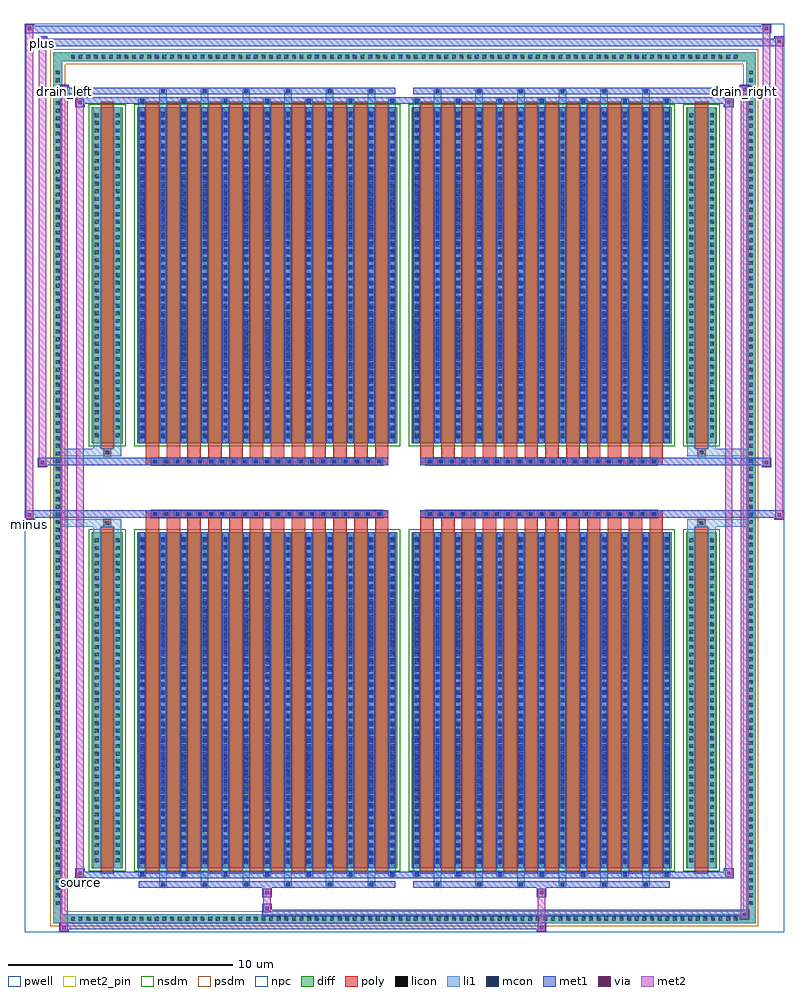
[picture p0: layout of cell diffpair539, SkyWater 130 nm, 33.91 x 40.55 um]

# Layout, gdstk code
import gdstk
lib = gdstk.Library(unit=1e-6, precision=5e-09)
def R(c, l, rs):  # rectangles x0, y0, x1, y1
    for r in rs: c.add(gdstk.rectangle(r[:2], r[2:], *l))
def A(c, l, x, y, w, h, nx, ny, dx, dy):  # array of equal rectangles
    R(c, l, [(x+i*dx, y+j*dy, x+i*dx+w, y+j*dy+h) for i in range(nx) for j in range(ny)])
def P(c, l, *ps):  # polygons
    for p in ps: c.add(gdstk.Polygon(p, *l))
pwell = (64, 44)
diff = (65, 20)
poly = (66, 20)
licon = (66, 44)
li1 = (67, 20)
mcon = (67, 44)
met1 = (68, 20)
via = (68, 44)
met2_pin = (69, 16)
met2 = (69, 20)
nsdm = (93, 44)
psdm = (94, 20)
npc = (95, 20)

diffpair539 = lib.new_cell('diffpair539')
R(diffpair539, pwell, [(-16.94,-19.84,16.94,20.71), (-14.26,-18.03,-0.01,-0.805), (0.01,-18.03,14.26,-0.805), (-14.26,0.805,-0.01,18.03), (0.01,0.805,14.26,18.03)])
A(diffpair539, diff, -14.995, -19.44, 0.41, 0.41, 88, 2, 0.34, 38.47)
A(diffpair539, diff, -15.67, -18.735, 0.41, 0.41, 1, 110, 0, 0.34)
A(diffpair539, diff, 15.26, -18.735, 0.41, 0.41, 1, 110, 0, 0.34)
R(diffpair539, diff, [(-14.995,-19.44,14.995,-19.03), (-15.67,-18.735,-15.26,18.735), (15.26,-18.735,15.67,18.735), (-13.95,-16.985,-12.57,-1.985), (-11.93,-16.985,-0.32,-1.985), (0.32,-16.985,11.93,-1.985), (12.57,-16.985,13.95,-1.985), (-13.95,1.985,-12.57,16.985), (-11.93,1.985,-0.32,16.985), (0.32,1.985,11.93,16.985), (12.57,1.985,13.95,16.985), (-14.995,19.03,14.995,19.44)])
P(diffpair539, diff, [(15.67,19.44),(-15.67,19.44),(-15.67,-19.03),(-15.26,-19.03),(-15.26,19.03),(15.26,19.03),(15.26,-19.03),(-15.26,-19.03),(-15.67,-19.03),(-15.67,-19.44),(15.67,-19.44)])
A(diffpair539, poly, -11.54, -17.235, 0.6, 15.5, 12, 2, 0.93, 18.97)
A(diffpair539, poly, 0.71, -17.235, 0.6, 15.5, 12, 2, 0.93, 18.97)
A(diffpair539, poly, -11.54, -1.735, 0.6, 0.4, 12, 2, 0.93, 3.07)
A(diffpair539, poly, 0.71, -1.735, 0.6, 0.4, 12, 2, 0.93, 3.07)
A(diffpair539, poly, -11.29, -1.335, 0.33, 0.33, 21, 2, 0.5, 2.34)
A(diffpair539, poly, 0.96, -1.335, 0.33, 0.33, 21, 2, 0.5, 2.34)
R(diffpair539, poly, [(-13.56,-17.235,-12.96,-1.735), (12.96,-17.235,13.56,-1.735), (-13.425,-1.735,-13.095,-1.405), (-13.425,-1.735,-13.095,-1.405), (13.095,-1.735,13.425,-1.405), (13.095,-1.735,13.425,-1.405), (-11.54,-1.335,-0.71,-1.005), (0.71,-1.335,11.54,-1.005), (-11.54,1.005,-0.71,1.335), (0.71,1.005,11.54,1.335), (-13.425,1.405,-13.095,1.735), (-13.425,1.405,-13.095,1.735), (13.095,1.405,13.425,1.735), (13.095,1.405,13.425,1.735), (-13.56,1.735,-12.96,17.235), (12.96,1.735,13.56,17.235)])
A(diffpair539, licon, -14.875, -19.32, 0.17, 0.17, 88, 2, 0.34, 38.47)
A(diffpair539, licon, -15.55, -18.615, 0.17, 0.17, 1, 110, 0, 0.34)
A(diffpair539, licon, 15.38, -18.615, 0.17, 0.17, 1, 110, 0, 0.34)
A(diffpair539, licon, -13.81, -16.71, 0.17, 0.17, 1, 43, 0, 0.34)
A(diffpair539, licon, -12.88, -16.71, 0.17, 0.17, 1, 43, 0, 0.34)
A(diffpair539, licon, -11.79, -16.71, 0.17, 0.17, 13, 43, 0.93, 0.34)
A(diffpair539, licon, 0.46, -16.71, 0.17, 0.17, 13, 43, 0.93, 0.34)
A(diffpair539, licon, 12.71, -16.71, 0.17, 0.17, 1, 43, 0, 0.34)
A(diffpair539, licon, 13.64, -16.71, 0.17, 0.17, 1, 43, 0, 0.34)
A(diffpair539, licon, -11.21, -1.255, 0.17, 0.17, 21, 2, 0.5, 2.34)
A(diffpair539, licon, 1.04, -1.255, 0.17, 0.17, 21, 2, 0.5, 2.34)
A(diffpair539, licon, -13.81, 2.26, 0.17, 0.17, 1, 43, 0, 0.34)
A(diffpair539, licon, -12.88, 2.26, 0.17, 0.17, 1, 43, 0, 0.34)
A(diffpair539, licon, -11.79, 2.26, 0.17, 0.17, 13, 43, 0.93, 0.34)
A(diffpair539, licon, 0.46, 2.26, 0.17, 0.17, 13, 43, 0.93, 0.34)
A(diffpair539, licon, 12.71, 2.26, 0.17, 0.17, 1, 43, 0, 0.34)
A(diffpair539, licon, 13.64, 2.26, 0.17, 0.17, 1, 43, 0, 0.34)
R(diffpair539, licon, [(-13.345,-1.655,-13.175,-1.485), (13.175,-1.655,13.345,-1.485), (-13.345,1.485,-13.175,1.655), (13.175,1.485,13.345,1.655)])
A(diffpair539, li1, -14.955, -19.4, 0.33, 0.33, 88, 2, 0.34, 38.47)
A(diffpair539, li1, -15.63, -18.695, 0.33, 0.33, 1, 110, 0, 0.34)
A(diffpair539, li1, 15.3, -18.695, 0.33, 0.33, 1, 110, 0, 0.34)
A(diffpair539, li1, -10.94, -17.79, 0.33, 0.805, 6, 2, 1.86, 34.775)
A(diffpair539, li1, -10.86, -17.79, 0.17, 0.17, 6, 2, 1.86, 35.41)
A(diffpair539, li1, 1.31, -17.79, 0.33, 0.805, 6, 2, 1.86, 34.775)
A(diffpair539, li1, 1.39, -17.79, 0.17, 0.17, 6, 2, 1.86, 35.41)
A(diffpair539, li1, -11.87, -17.36, 0.33, 0.375, 7, 2, 1.86, 34.345)
A(diffpair539, li1, -11.79, -17.36, 0.17, 0.17, 7, 2, 1.86, 34.55)
A(diffpair539, li1, 0.38, -17.36, 0.33, 0.375, 7, 2, 1.86, 34.345)
A(diffpair539, li1, 0.46, -17.36, 0.17, 0.17, 7, 2, 1.86, 34.55)
A(diffpair539, li1, -11.87, -16.985, 0.33, 15, 13, 2, 0.93, 18.97)
A(diffpair539, li1, 0.38, -16.985, 0.33, 15, 13, 2, 0.93, 18.97)
A(diffpair539, li1, -13.89, -16.79, 0.33, 0.33, 1, 43, 0, 0.34)
A(diffpair539, li1, -12.96, -16.79, 0.33, 0.33, 1, 43, 0, 0.34)
A(diffpair539, li1, -11.87, -16.79, 0.33, 0.33, 13, 43, 0.93, 0.34)
A(diffpair539, li1, 0.38, -16.79, 0.33, 0.33, 13, 43, 0.93, 0.34)
A(diffpair539, li1, 12.63, -16.79, 0.33, 0.33, 1, 43, 0, 0.34)
A(diffpair539, li1, 13.56, -16.79, 0.33, 0.33, 1, 43, 0, 0.34)
A(diffpair539, li1, -11.79, -16.77, 0.17, 0.17, 13, 41, 0.93, 0.36)
A(diffpair539, li1, -11.79, -16.77, 0.17, 14.57, 13, 2, 0.93, 18.97)
A(diffpair539, li1, 0.46, -16.77, 0.17, 0.17, 13, 41, 0.93, 0.36)
A(diffpair539, li1, 0.46, -16.77, 0.17, 14.57, 13, 2, 0.93, 18.97)
A(diffpair539, li1, -11.29, -1.335, 0.33, 0.33, 21, 2, 0.5, 2.34)
A(diffpair539, li1, 0.96, -1.335, 0.33, 0.33, 21, 2, 0.5, 2.34)
A(diffpair539, li1, -13.89, 2.18, 0.33, 0.33, 1, 43, 0, 0.34)
A(diffpair539, li1, -12.96, 2.18, 0.33, 0.33, 1, 43, 0, 0.34)
A(diffpair539, li1, -11.87, 2.18, 0.33, 0.33, 13, 43, 0.93, 0.34)
A(diffpair539, li1, 0.38, 2.18, 0.33, 0.33, 13, 43, 0.93, 0.34)
A(diffpair539, li1, 12.63, 2.18, 0.33, 0.33, 1, 43, 0, 0.34)
A(diffpair539, li1, 13.56, 2.18, 0.33, 0.33, 1, 43, 0, 0.34)
A(diffpair539, li1, -11.79, 2.2, 0.17, 0.17, 13, 41, 0.93, 0.36)
A(diffpair539, li1, 0.46, 2.2, 0.17, 0.17, 13, 41, 0.93, 0.36)
R(diffpair539, li1, [(-15.67,-19.44,-15.26,-19.03), (-15.67,-19.44,-15.26,-19.03), (-15.26,-19.44,15.26,-19.03), (15.26,-19.44,15.67,-19.03), (15.26,-19.44,15.67,-19.03), (-15.67,-19.03,-15.26,19.03), (15.26,-19.03,15.67,19.03), (-13.89,-16.985,-13.56,-1.985), (-12.96,-16.985,-12.63,-1.985), (12.63,-16.985,12.96,-1.985), (13.56,-16.985,13.89,-1.985), (-13.89,-1.985,-13.56,-1.405), (-12.96,-1.985,-12.63,-1.405), (12.63,-1.985,12.96,-1.405), (13.56,-1.985,13.89,-1.405), (-15.67,-1.735,-13.425,-1.405), (-13.89,-1.735,-13.425,-1.405), (-13.425,-1.735,-13.095,-1.405), (-13.095,-1.735,-12.63,-1.405), (12.63,-1.735,13.095,-1.405), (13.095,-1.735,13.425,-1.405), (13.095,-1.735,15.67,-1.405), (13.425,-1.735,13.89,-1.405), (-15.67,1.405,-13.425,1.735), (-13.89,1.405,-13.425,1.735), (-13.89,1.405,-13.56,1.985), (-13.425,1.405,-13.095,1.735), (-13.095,1.405,-12.63,1.735), (-12.96,1.405,-12.63,1.985), (12.63,1.405,13.095,1.735), (12.63,1.405,12.96,1.985), (13.095,1.405,13.425,1.735), (13.095,1.405,15.67,1.735), (13.425,1.405,13.89,1.735), (13.56,1.405,13.89,1.985), (-13.89,1.985,-13.56,16.985), (-12.96,1.985,-12.63,16.985), (12.63,1.985,12.96,16.985), (13.56,1.985,13.89,16.985), (-15.67,19.03,-15.26,19.44), (-15.67,19.03,-15.26,19.44), (-15.26,19.03,15.26,19.44), (15.26,19.03,15.67,19.44), (15.26,19.03,15.67,19.44)])
A(diffpair539, mcon, -10.86, -17.79, 0.17, 0.17, 6, 2, 1.86, 35.41)
A(diffpair539, mcon, 1.39, -17.79, 0.17, 0.17, 6, 2, 1.86, 35.41)
A(diffpair539, mcon, -11.79, -17.36, 0.17, 0.17, 7, 2, 1.86, 34.55)
A(diffpair539, mcon, 0.46, -17.36, 0.17, 0.17, 7, 2, 1.86, 34.55)
A(diffpair539, mcon, -11.79, -16.77, 0.17, 0.17, 13, 41, 0.93, 0.36)
A(diffpair539, mcon, 0.46, -16.77, 0.17, 0.17, 13, 41, 0.93, 0.36)
A(diffpair539, mcon, -11.21, -1.255, 0.17, 0.17, 21, 2, 0.5, 2.34)
A(diffpair539, mcon, 1.04, -1.255, 0.17, 0.17, 21, 2, 0.5, 2.34)
A(diffpair539, mcon, -11.79, 2.2, 0.17, 0.17, 13, 41, 0.93, 0.36)
A(diffpair539, mcon, 0.46, 2.2, 0.17, 0.17, 13, 41, 0.93, 0.36)
A(diffpair539, met1, -10.92, -17.85, 0.29, 0.29, 6, 2, 1.86, 35.41)
A(diffpair539, met1, 1.33, -17.85, 0.29, 0.29, 6, 2, 1.86, 35.41)
A(diffpair539, met1, -11.85, -17.42, 0.29, 0.29, 7, 2, 1.86, 34.55)
A(diffpair539, met1, 0.4, -17.42, 0.29, 0.29, 7, 2, 1.86, 34.55)
A(diffpair539, met1, -11.85, -16.985, 0.29, 15, 13, 2, 0.93, 18.97)
A(diffpair539, met1, 0.4, -16.985, 0.29, 15, 13, 2, 0.93, 18.97)
A(diffpair539, met1, -11.85, -16.83, 0.29, 0.29, 13, 41, 0.93, 0.36)
A(diffpair539, met1, 0.4, -16.83, 0.29, 0.29, 13, 41, 0.93, 0.36)
A(diffpair539, met1, -11.27, -1.315, 0.29, 0.29, 21, 2, 0.5, 2.34)
A(diffpair539, met1, 0.98, -1.315, 0.29, 0.29, 21, 2, 0.5, 2.34)
A(diffpair539, met1, -11.85, 2.14, 0.29, 0.29, 13, 41, 0.93, 0.36)
A(diffpair539, met1, 0.4, 2.14, 0.29, 0.29, 13, 41, 0.93, 0.36)
R(diffpair539, met1, [(-15.4,-19.84,-14.97,-19.41), (5.91,-19.84,6.34,-19.41), (-15.4,-19.7,6.34,-19.41), (14.97,-19.27,15.4,-18.84), (-6.34,-19.13,15.4,-18.84), (-6.34,-18.99,-5.91,-18.56), (-6.34,-18.28,-5.91,-17.85), (5.91,-18.28,6.34,-17.85), (-11.85,-17.85,-0.4,-17.56), (0.4,-17.85,11.85,-17.56), (-14.69,-17.42,-14.26,-16.99), (-14.69,-17.42,-11.85,-17.13), (-11.85,-17.42,-0.4,-17.13), (-0.4,-17.42,0.4,-17.13), (0.4,-17.42,11.85,-17.13), (11.85,-17.42,14.69,-17.13), (14.26,-17.42,14.69,-16.99), (-16.94,-1.435,-16.51,-1.005), (16.51,-1.435,16.94,-1.005), (-16.94,-1.335,-0.71,-1.005), (-11.54,-1.335,-0.71,-1.005), (0.71,-1.335,11.54,-1.005), (0.71,-1.335,16.94,-1.005), (-16.37,0.905,-15.94,1.335), (15.94,0.905,16.37,1.335), (-16.37,1.005,-11.54,1.335), (-11.54,1.005,-0.71,1.335), (0.71,1.005,11.54,1.335), (11.54,1.005,16.37,1.335), (-14.69,16.99,-14.26,17.42), (14.26,16.99,14.69,17.42), (-14.69,17.13,-11.85,17.42), (-11.85,17.13,-0.4,17.42), (-0.4,17.13,0.4,17.42), (0.4,17.13,11.85,17.42), (11.85,17.13,14.69,17.42), (-15.4,17.56,-14.97,17.99), (-15.4,17.56,-11.85,17.85), (-11.85,17.56,-0.4,17.85), (0.4,17.56,11.85,17.85), (11.85,17.56,15.4,17.85), (14.97,17.56,15.4,17.99), (-16.37,19.71,-15.94,20.14), (-16.37,19.71,-14.26,20.04), (-14.26,19.71,14.26,20.04), (14.26,19.71,16.94,20.04), (16.51,19.71,16.94,20.14), (-16.94,20.28,-16.51,20.71), (-16.94,20.28,-14.26,20.61), (-14.26,20.28,14.26,20.61), (14.26,20.28,16.37,20.61), (15.94,20.28,16.37,20.71)])
R(diffpair539, via, [(-15.26,-19.7,-15.11,-19.55), (6.05,-19.7,6.2,-19.55), (15.11,-19.13,15.26,-18.98), (-6.2,-18.85,-6.05,-18.7), (-6.2,-18.14,-6.05,-17.99), (6.05,-18.14,6.2,-17.99), (-14.55,-17.28,-14.4,-17.13), (14.4,-17.28,14.55,-17.13), (-16.8,-1.295,-16.65,-1.145), (16.65,-1.295,16.8,-1.145), (-16.23,1.045,-16.08,1.195), (16.08,1.045,16.23,1.195), (-14.55,17.13,-14.4,17.28), (14.4,17.13,14.55,17.28), (-15.26,17.7,-15.11,17.85), (15.11,17.7,15.26,17.85), (-16.23,19.85,-16.08,20), (16.65,19.85,16.8,20), (-16.8,20.42,-16.65,20.57), (16.08,20.42,16.23,20.57)])
R(diffpair539, met2_pin, [(-14.725,-17.87,-14.225,-17.37), (-16.975,-1.885,-16.475,-1.385), (-15.435,17.44,-14.935,17.94), (14.935,17.44,15.435,17.94), (-16.405,19.59,-15.905,20.09)])
R(diffpair539, met2, [(-15.35,-19.79,-15.02,-19.46), (-15.35,-19.79,-15.02,17.94), (5.96,-19.79,6.29,-19.46), (5.96,-19.46,6.29,-18.23), (15.02,-19.22,15.35,-18.89), (15.02,-19.22,15.35,17.94), (-6.29,-18.94,-5.96,-18.61), (-6.29,-18.61,-5.96,-18.23), (-6.29,-18.23,-5.96,-17.9), (5.96,-18.23,6.29,-17.9), (-14.64,-17.37,-14.31,-17.04), (-14.64,-17.37,-14.31,17.37), (14.31,-17.37,14.64,-17.04), (14.31,-17.37,14.64,17.37), (-16.89,-1.385,-16.56,-1.055), (-16.89,-1.385,-16.56,20.66), (16.56,-1.385,16.89,-1.055), (16.56,-1.385,16.89,20.09), (-16.32,0.955,-15.99,1.285), (-16.32,0.955,-15.99,20.09), (15.99,0.955,16.32,1.285), (15.99,0.955,16.32,20.66), (-14.64,17.04,-14.31,17.37), (14.31,17.04,14.64,17.37), (-15.35,17.61,-15.02,17.94), (15.02,17.61,15.35,17.94), (-16.32,19.76,-15.99,20.09), (16.56,19.76,16.89,20.09), (-16.89,20.33,-16.56,20.66), (15.99,20.33,16.32,20.66)])
P(diffpair539, met2, [(16.89,-1.385),(16.89,-1.385),(16.89,-1.055),(16.89,-1.055)],
  [(16.89,19.76),(16.89,19.76),(16.89,20.09),(16.89,20.09)],
  [(-16.56,-1.385),(-16.56,-1.385),(-16.56,-1.055),(-16.56,-1.055)],
  [(-16.56,20.33),(-16.56,20.33),(-16.56,20.66),(-16.56,20.66)],
  [(16.32,0.955),(16.32,0.955),(16.32,1.285),(16.32,1.285)],
  [(16.32,20.33),(16.32,20.33),(16.32,20.66),(16.32,20.66)],
  [(-15.99,0.955),(-15.99,0.955),(-15.99,1.285),(-15.99,1.285)],
  [(-15.99,19.76),(-15.99,19.76),(-15.99,20.09),(-15.99,20.09)],
  [(-15.02,-19.79),(-15.02,-19.79),(-15.02,-19.46),(-15.02,-19.46)],
  [(-15.02,17.61),(-15.02,17.61),(-15.02,17.94),(-15.02,17.94)],
  [(15.35,-19.22),(15.35,-19.22),(15.35,-18.89),(15.35,-18.89)],
  [(15.35,17.61),(15.35,17.61),(15.35,17.94),(15.35,17.94)],
  [(-14.31,-17.37),(-14.31,-17.37),(-14.31,-17.04),(-14.31,-17.04)],
  [(-14.31,17.04),(-14.31,17.04),(-14.31,17.37),(-14.31,17.37)],
  [(14.64,-17.37),(14.64,-17.37),(14.64,-17.04),(14.64,-17.04)],
  [(14.64,17.04),(14.64,17.04),(14.64,17.37),(14.64,17.37)])
R(diffpair539, nsdm, [(-14.08,-17.115,-12.44,-1.855), (-12.06,-17.115,-0.19,-1.855), (0.19,-17.115,12.06,-1.855), (12.44,-17.115,14.08,-1.855), (-14.08,1.855,-12.44,17.115), (-12.06,1.855,-0.19,17.115), (0.19,1.855,12.06,17.115), (12.44,1.855,14.08,17.115)])
P(diffpair539, psdm, [(15.8,19.57),(-15.8,19.57),(-15.8,-18.9),(-15.13,-18.9),(-15.13,18.9),(15.13,18.9),(15.13,-18.9),(-15.13,-18.9),(-15.8,-18.9),(-15.8,-19.57),(15.8,-19.57)])
A(diffpair539, npc, -11.31, -1.355, 0.37, 0.37, 21, 2, 0.5, 2.34)
A(diffpair539, npc, 0.94, -1.355, 0.37, 0.37, 21, 2, 0.5, 2.34)
R(diffpair539, npc, [(-13.445,-1.755,-13.075,-1.385), (13.075,-1.755,13.445,-1.385), (-11.31,-1.355,-10.44,-0.985), (-11.31,-1.355,-10.44,-0.985), (-10.81,-1.355,-9.94,-0.985), (-10.81,-1.355,-9.94,-0.985), (-10.31,-1.355,-9.44,-0.985), (-10.31,-1.355,-9.44,-0.985), (-9.81,-1.355,-8.94,-0.985), (-9.81,-1.355,-8.94,-0.985), (-9.31,-1.355,-8.44,-0.985), (-9.31,-1.355,-8.44,-0.985), (-8.81,-1.355,-7.94,-0.985), (-8.81,-1.355,-7.94,-0.985), (-8.31,-1.355,-7.44,-0.985), (-8.31,-1.355,-7.44,-0.985), (-7.81,-1.355,-6.94,-0.985), (-7.81,-1.355,-6.94,-0.985), (-7.31,-1.355,-6.44,-0.985), (-7.31,-1.355,-6.44,-0.985), (-6.81,-1.355,-5.94,-0.985), (-6.81,-1.355,-5.94,-0.985), (-6.31,-1.355,-5.44,-0.985), (-6.31,-1.355,-5.44,-0.985), (-5.81,-1.355,-4.94,-0.985), (-5.81,-1.355,-4.94,-0.985), (-5.31,-1.355,-4.44,-0.985), (-5.31,-1.355,-4.44,-0.985), (-4.81,-1.355,-3.94,-0.985), (-4.81,-1.355,-3.94,-0.985), (-4.31,-1.355,-3.44,-0.985), (-4.31,-1.355,-3.44,-0.985), (-3.81,-1.355,-2.94,-0.985), (-3.81,-1.355,-2.94,-0.985), (-3.31,-1.355,-2.44,-0.985), (-3.31,-1.355,-2.44,-0.985), (-2.81,-1.355,-1.94,-0.985), (-2.81,-1.355,-1.94,-0.985), (-2.31,-1.355,-1.44,-0.985), (-2.31,-1.355,-1.44,-0.985), (-1.81,-1.355,-0.94,-0.985), (-1.81,-1.355,-0.94,-0.985), (0.94,-1.355,1.81,-0.985), (0.94,-1.355,1.81,-0.985), (1.44,-1.355,2.31,-0.985), (1.44,-1.355,2.31,-0.985), (1.94,-1.355,2.81,-0.985), (1.94,-1.355,2.81,-0.985), (2.44,-1.355,3.31,-0.985), (2.44,-1.355,3.31,-0.985), (2.94,-1.355,3.81,-0.985), (2.94,-1.355,3.81,-0.985), (3.44,-1.355,4.31,-0.985), (3.44,-1.355,4.31,-0.985), (3.94,-1.355,4.81,-0.985), (3.94,-1.355,4.81,-0.985), (4.44,-1.355,5.31,-0.985), (4.44,-1.355,5.31,-0.985), (4.94,-1.355,5.81,-0.985), (4.94,-1.355,5.81,-0.985), (5.44,-1.355,6.31,-0.985), (5.44,-1.355,6.31,-0.985), (5.94,-1.355,6.81,-0.985), (5.94,-1.355,6.81,-0.985), (6.44,-1.355,7.31,-0.985), (6.44,-1.355,7.31,-0.985), (6.94,-1.355,7.81,-0.985), (6.94,-1.355,7.81,-0.985), (7.44,-1.355,8.31,-0.985), (7.44,-1.355,8.31,-0.985), (7.94,-1.355,8.81,-0.985), (7.94,-1.355,8.81,-0.985), (8.44,-1.355,9.31,-0.985), (8.44,-1.355,9.31,-0.985), (8.94,-1.355,9.81,-0.985), (8.94,-1.355,9.81,-0.985), (9.44,-1.355,10.31,-0.985), (9.44,-1.355,10.31,-0.985), (9.94,-1.355,10.81,-0.985), (9.94,-1.355,10.81,-0.985), (10.44,-1.355,11.31,-0.985), (10.44,-1.355,11.31,-0.985), (-11.31,0.985,-10.44,1.355), (-11.31,0.985,-10.44,1.355), (-10.81,0.985,-9.94,1.355), (-10.81,0.985,-9.94,1.355), (-10.31,0.985,-9.44,1.355), (-10.31,0.985,-9.44,1.355), (-9.81,0.985,-8.94,1.355), (-9.81,0.985,-8.94,1.355), (-9.31,0.985,-8.44,1.355), (-9.31,0.985,-8.44,1.355), (-8.81,0.985,-7.94,1.355), (-8.81,0.985,-7.94,1.355), (-8.31,0.985,-7.44,1.355), (-8.31,0.985,-7.44,1.355), (-7.81,0.985,-6.94,1.355), (-7.81,0.985,-6.94,1.355), (-7.31,0.985,-6.44,1.355), (-7.31,0.985,-6.44,1.355), (-6.81,0.985,-5.94,1.355), (-6.81,0.985,-5.94,1.355), (-6.31,0.985,-5.44,1.355), (-6.31,0.985,-5.44,1.355), (-5.81,0.985,-4.94,1.355), (-5.81,0.985,-4.94,1.355), (-5.31,0.985,-4.44,1.355), (-5.31,0.985,-4.44,1.355), (-4.81,0.985,-3.94,1.355), (-4.81,0.985,-3.94,1.355), (-4.31,0.985,-3.44,1.355), (-4.31,0.985,-3.44,1.355), (-3.81,0.985,-2.94,1.355), (-3.81,0.985,-2.94,1.355), (-3.31,0.985,-2.44,1.355), (-3.31,0.985,-2.44,1.355), (-2.81,0.985,-1.94,1.355), (-2.81,0.985,-1.94,1.355), (-2.31,0.985,-1.44,1.355), (-2.31,0.985,-1.44,1.355), (-1.81,0.985,-0.94,1.355), (-1.81,0.985,-0.94,1.355), (0.94,0.985,1.81,1.355), (0.94,0.985,1.81,1.355), (1.44,0.985,2.31,1.355), (1.44,0.985,2.31,1.355), (1.94,0.985,2.81,1.355), (1.94,0.985,2.81,1.355), (2.44,0.985,3.31,1.355), (2.44,0.985,3.31,1.355), (2.94,0.985,3.81,1.355), (2.94,0.985,3.81,1.355), (3.44,0.985,4.31,1.355), (3.44,0.985,4.31,1.355), (3.94,0.985,4.81,1.355), (3.94,0.985,4.81,1.355), (4.44,0.985,5.31,1.355), (4.44,0.985,5.31,1.355), (4.94,0.985,5.81,1.355), (4.94,0.985,5.81,1.355), (5.44,0.985,6.31,1.355), (5.44,0.985,6.31,1.355), (5.94,0.985,6.81,1.355), (5.94,0.985,6.81,1.355), (6.44,0.985,7.31,1.355), (6.44,0.985,7.31,1.355), (6.94,0.985,7.81,1.355), (6.94,0.985,7.81,1.355), (7.44,0.985,8.31,1.355), (7.44,0.985,8.31,1.355), (7.94,0.985,8.81,1.355), (7.94,0.985,8.81,1.355), (8.44,0.985,9.31,1.355), (8.44,0.985,9.31,1.355), (8.94,0.985,9.81,1.355), (8.94,0.985,9.81,1.355), (9.44,0.985,10.31,1.355), (9.44,0.985,10.31,1.355), (9.94,0.985,10.81,1.355), (9.94,0.985,10.81,1.355), (10.44,0.985,11.31,1.355), (10.44,0.985,11.31,1.355), (-13.445,1.385,-13.075,1.755), (13.075,1.385,13.445,1.755)])
diffpair539.add(gdstk.Label('minus', (-16.725,-1.635), layer=69, texttype=5))
diffpair539.add(gdstk.Label('drain_right', (15.185,17.69), layer=69, texttype=5))
diffpair539.add(gdstk.Label('drain_left', (-15.185,17.69), layer=69, texttype=5))
diffpair539.add(gdstk.Label('source', (-14.475,-17.62), layer=69, texttype=5))
diffpair539.add(gdstk.Label('plus', (-16.155,19.84), layer=69, texttype=5))

lib.write_gds('diffpair539.gds')
